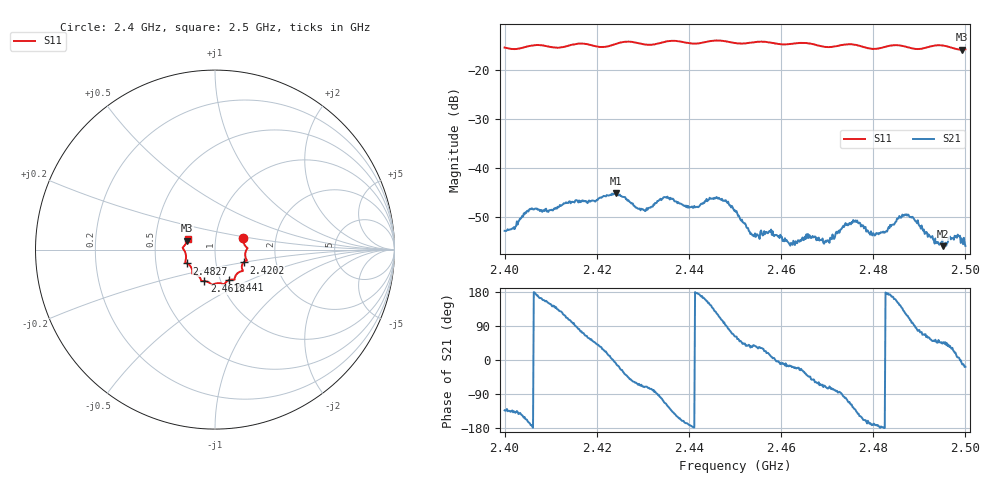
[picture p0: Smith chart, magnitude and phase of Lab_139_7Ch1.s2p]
# Hz S RI R 50
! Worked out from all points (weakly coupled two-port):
!   601 points, 2.4 GHz to 2.5 GHz, reference 50 ohm
!   highest |S21| = -45.04 dB at 2.4242 GHz (marker M1); lowest = -55.9 dB at 2.4952 GHz (marker M2)
!   lowest |S11| = -15.8 dB at 2.4993 GHz (marker M3), VSWR 1.39, Z = 36.5 + j3.8 ohm
!   |S11| at or under -10 dB: start of sweep to end of sweep
!   S12 and S22 are empty: the file has one direction only
!   S11 on the Smith chart (normalised r, x): 2.4 GHz: 1.36, +0.18; 2.4202 GHz: 1.36, -0.20; 2.441 GHz: 1.10, -0.39; 2.4618 GHz: 0.84, -0.30; 2.4827 GHz: 0.72, -0.11; 2.5 GHz: 0.73, +0.09
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2.4e9  0.1587 0.063  -0.00157 -0.00169  0 0  0 0
2.4055e9  0.177 0.0121  -0.00378 -0.000808  0 0  0 0
2.416667e9  0.1774 -0.0607  0.00113 0.00442  0 0  0 0
2.420167e9  0.159 -0.0717  0.00362 0.00306  0 0  0 0
2.424167e9  0.1514 -0.108  0.00552 -0.000908  0 0  0 0
2.43e9  0.1367 -0.1244  0.00129 -0.00361  0 0  0 0
2.433333e9  0.1118 -0.1507  -0.000253 -0.00464  0 0  0 0
2.441e9  0.0788 -0.1697  -0.00397 -0.000164  0 0  0 0
2.446e9  0.0498 -0.1951  -0.0028 0.00428  0 0  0 0
2.45e9  0.0286 -0.1875  0.00175 0.0033  0 0  0 0
2.453667e9  -0.00532 -0.1923  0.00176 0.00117  0 0  0 0
2.461833e9  -0.0589 -0.1755  0.00162 -0.000421  0 0  0 0
2.466667e9  -0.079 -0.1683  0.00121 -0.00155  0 0  0 0
2.47e9  -0.095 -0.1442  0.000496 -0.00178  0 0  0 0
2.476e9  -0.1272 -0.1306  -0.00183 -0.0022  0 0  0 0
2.479833e9  -0.134 -0.0967  -0.00204 -0.000354  0 0  0 0
2.482667e9  -0.1559 -0.0771  -0.00226 7.78e-05  0 0  0 0
2.483333e9  -0.1603 -0.0752  -0.00249 0.000341  0 0  0 0
2.487333e9  -0.1629 -0.0571  -0.0015 0.00294  0 0  0 0
2.495167e9  -0.1784 0.0133  0.00111 0.00117  0 0  0 0
2.499333e9  -0.154 0.0507  0.00177 -0.00037  0 0  0 0
2.5e9  -0.1522 0.0602  0.00154 -0.000495  0 0  0 0
